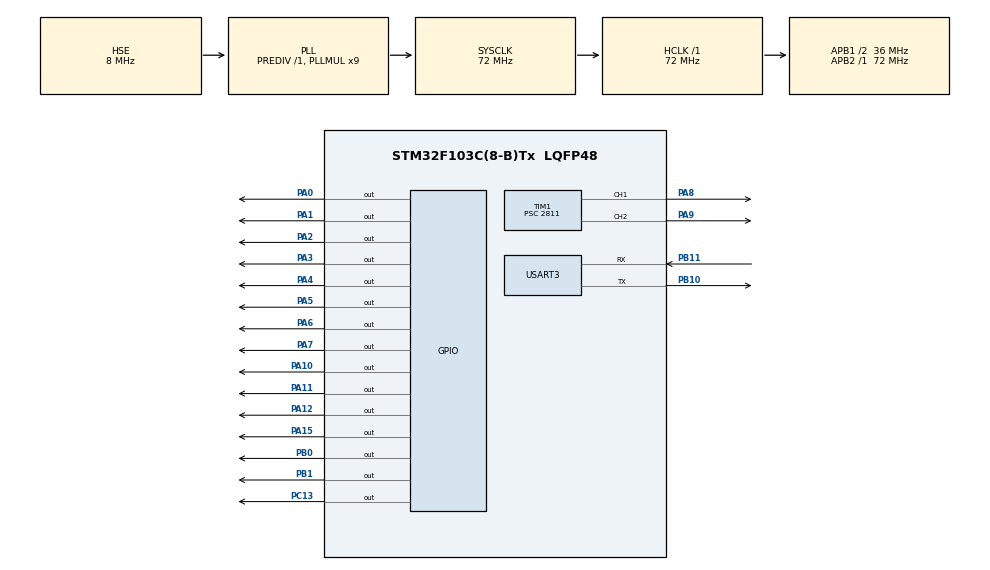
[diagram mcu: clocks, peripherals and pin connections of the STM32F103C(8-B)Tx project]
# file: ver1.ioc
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Mcu.Family=STM32F1
Mcu.Name=STM32F103C(8-B)Tx
Mcu.Package=LQFP48
NVIC.PriorityGroup=NVIC_PRIORITYGROUP_4
NVIC.USART3_IRQn=true\:2\:0\:true\:false\:true\:true\:true\:true
PA0-WKUP.Signal=GPIO_Output
PA1.Signal=GPIO_Output
PA10.Signal=GPIO_Output
PA11.Signal=GPIO_Output
PA12.Signal=GPIO_Output
PA13.Mode=Serial_Wire
PA13.Signal=SYS_JTMS-SWDIO
PA14.Mode=Serial_Wire
PA14.Signal=SYS_JTCK-SWCLK
PA15.Signal=GPIO_Output
PA2.Signal=GPIO_Output
PA3.Signal=GPIO_Output
PA4.Signal=GPIO_Output
PA5.Signal=GPIO_Output
PA6.Signal=GPIO_Output
PA7.Signal=GPIO_Output
PA8.Signal=S_TIM1_CH1
PA9.Signal=S_TIM1_CH2
PB0.Signal=GPIO_Output
PB1.Signal=GPIO_Output
PB10.Mode=Asynchronous
PB10.Signal=USART3_TX
PB11.Mode=Asynchronous
PB11.Signal=USART3_RX
PC13-TAMPER-RTC.Signal=GPIO_Output
PD0-OSC_IN.Mode=HSE-External-Oscillator
PD0-OSC_IN.Signal=RCC_OSC_IN
PD1-OSC_OUT.Mode=HSE-External-Oscillator
PD1-OSC_OUT.Signal=RCC_OSC_OUT
ProjectManager.HeapSize=0x200
ProjectManager.StackSize=0x400
ProjectManager.TargetToolchain=MDK-ARM V5.32
RCC.ADCPresc=RCC_ADCPCLK2_DIV6
RCC.AHBFreq_Value=72000000
RCC.APB1CLKDivider=RCC_HCLK_DIV2
RCC.APB1Freq_Value=36000000
RCC.APB1TimFreq_Value=72000000
RCC.APB2Freq_Value=72000000
RCC.APB2TimFreq_Value=72000000
RCC.HCLKFreq_Value=72000000
RCC.PLLMUL=RCC_PLL_MUL9
RCC.PLLSourceVirtual=RCC_PLLSOURCE_HSE
RCC.SYSCLKFreq_VALUE=72000000
RCC.SYSCLKSource=RCC_SYSCLKSOURCE_PLLCLK
RCC.USBFreq_Value=72000000
SH.S_TIM1_CH1.0=TIM1_CH1,PWM Generation1 CH1
SH.S_TIM1_CH2.0=TIM1_CH2,PWM Generation2 CH2
TIM1.Channel-PWM\ Generation1\ CH1=TIM_CHANNEL_1
TIM1.Channel-PWM\ Generation2\ CH2=TIM_CHANNEL_2
TIM1.Period=255
TIM1.Prescaler=2811
TIM2.Prescaler=71
USART3.VirtualMode=VM_ASYNC
VP_TIM1_VS_ClockSourceINT.Mode=Internal
VP_TIM2_VS_ClockSourceINT.Mode=Internal
board=custom

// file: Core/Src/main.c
/* USER CODE BEGIN Header */
/**
  ******************************************************************************
  * @file           : main.c
  * @brief          : Main program body
  ******************************************************************************
  * @attention
  *
  * Copyright (c) 2025 STMicroelectronics.
  * All rights reserved.
  *
  * This software is licensed under terms that can be found in the LICENSE file
  * in the root directory of this software component.
  * If no LICENSE file comes with this software, it is provided AS-IS.
  *
  ******************************************************************************
  */
/* USER CODE END Header */
#include "main.h"

/* USER CODE BEGIN Includes */
#include "stdarg.h"
#include "stdio.h"
#include "string.h"
#include "kalman.h"
#include "math.h"
/* USER CODE END Includes */

TIM_HandleTypeDef htim1;
TIM_HandleTypeDef htim2;

UART_HandleTypeDef huart3;

void SystemClock_Config(void);
static void MX_GPIO_Init(void);
static void MX_TIM1_Init(void);
static void MX_USART3_UART_Init(void);
static void MX_TIM2_Init(void);

/* USER CODE BEGIN 0 */

#define TRIGGER_PORT 	GPIOB
#define TRIGGER_PIN		GPIO_PIN_9

#define ECHO_PORT			GPIOB
#define ECHO_PIN			GPIO_PIN_8

char buff[40];
uint8_t data_rx[40];
uint8_t pos = 0;

void HAL_PRINTF(const char* format, ...)
{
    va_list args;
    va_start(args, format);
    memset(buff, 0, sizeof(buff)); // X�a buffer
    vsnprintf(buff, sizeof(buff), format, args);
    va_end(args);
    HAL_UART_Transmit(&huart3, (uint8_t*)buff, strlen(buff), 1000);
}

void turn_right(){
	__HAL_TIM_SET_COMPARE(&htim1, TIM_CHANNEL_1, 250);
	__HAL_TIM_SET_COMPARE(&htim1, TIM_CHANNEL_2, 200);
	HAL_GPIO_WritePin(GPIOA, GPIO_PIN_10, 1);
	HAL_GPIO_WritePin(GPIOA, GPIO_PIN_11, 0);
	HAL_GPIO_WritePin(GPIOA, GPIO_PIN_12, 0);
	HAL_GPIO_WritePin(GPIOA, GPIO_PIN_15, 1);
}

void turn_left(){
	__HAL_TIM_SET_COMPARE(&htim1, TIM_CHANNEL_2, 250);
	__HAL_TIM_SET_COMPARE(&htim1, TIM_CHANNEL_1, 200);
	HAL_GPIO_WritePin(GPIOA, GPIO_PIN_10, 0);
	HAL_GPIO_WritePin(GPIOA, GPIO_PIN_11, 1);
	HAL_GPIO_WritePin(GPIOA, GPIO_PIN_12, 1);
	HAL_GPIO_WritePin(GPIOA, GPIO_PIN_15, 0);
}

void forward(){
	__HAL_TIM_SET_COMPARE(&htim1, TIM_CHANNEL_2, 250);
	__HAL_TIM_SET_COMPARE(&htim1, TIM_CHANNEL_1, 250);
	HAL_GPIO_WritePin(GPIOA, GPIO_PIN_10, 1);
	HAL_GPIO_WritePin(GPIOA, GPIO_PIN_11, 0);
	HAL_GPIO_WritePin(GPIOA, GPIO_PIN_12, 1);
	HAL_GPIO_WritePin(GPIOA, GPIO_PIN_15, 0);
}

void go_back(){
	__HAL_TIM_SET_COMPARE(&htim1, TIM_CHANNEL_2, 250);
	__HAL_TIM_SET_COMPARE(&htim1, TIM_CHANNEL_1, 250);
	HAL_GPIO_WritePin(GPIOA, GPIO_PIN_10, 0);
	HAL_GPIO_WritePin(GPIOA, GPIO_PIN_11, 1);
	HAL_GPIO_WritePin(GPIOA, GPIO_PIN_12, 0);
	HAL_GPIO_WritePin(GPIOA, GPIO_PIN_15, 1);
}

// Vừa tiến vừa rẽ phải
void forward_right() {
    __HAL_TIM_SET_COMPARE(&htim1, TIM_CHANNEL_1, 250); // Động cơ trái nhanh
    __HAL_TIM_SET_COMPARE(&htim1, TIM_CHANNEL_2, 30);   // Động cơ phải dừng hoặc rất chậm
    HAL_GPIO_WritePin(GPIOA, GPIO_PIN_10, 1);         // Trái tiến
    HAL_GPIO_WritePin(GPIOA, GPIO_PIN_11, 0);
    HAL_GPIO_WritePin(GPIOA, GPIO_PIN_12, 1);         // Phải tiến
    HAL_GPIO_WritePin(GPIOA, GPIO_PIN_15, 0);
}

// Vừa tiến vừa rẽ trái
void forward_left() {
    __HAL_TIM_SET_COMPARE(&htim1, TIM_CHANNEL_1, 30);  // Động cơ trái chậm
    __HAL_TIM_SET_COMPARE(&htim1, TIM_CHANNEL_2, 250); // Động cơ phải nhanh
    HAL_GPIO_WritePin(GPIOA, GPIO_PIN_10, 1);         // Trái tiến
    HAL_GPIO_WritePin(GPIOA, GPIO_PIN_11, 0);
    HAL_GPIO_WritePin(GPIOA, GPIO_PIN_12, 1);         // Phải tiến
    HAL_GPIO_WritePin(GPIOA, GPIO_PIN_15, 0);
}

// Vừa lùi vừa rẽ phải
void back_right() {
    __HAL_TIM_SET_COMPARE(&htim1, TIM_CHANNEL_1, 250); // Động cơ trái nhanh
    __HAL_TIM_SET_COMPARE(&htim1, TIM_CHANNEL_2, 30);   // Động cơ phải dừng hoặc rất chậm
    HAL_GPIO_WritePin(GPIOA, GPIO_PIN_10, 0);         // Trái lùi
    HAL_GPIO_WritePin(GPIOA, GPIO_PIN_11, 1);
    HAL_GPIO_WritePin(GPIOA, GPIO_PIN_12, 0);         // Phải lùi
    HAL_GPIO_WritePin(GPIOA, GPIO_PIN_15, 1);
}

// Vừa lùi vừa rẽ trái
void back_left() {
    __HAL_TIM_SET_COMPARE(&htim1, TIM_CHANNEL_1, 30);  // Động cơ trái chậm
    __HAL_TIM_SET_COMPARE(&htim1, TIM_CHANNEL_2, 250); // Động cơ phải nhanh
    HAL_GPIO_WritePin(GPIOA, GPIO_PIN_10, 0);         // Trái lùi
    HAL_GPIO_WritePin(GPIOA, GPIO_PIN_11, 1);
    HAL_GPIO_WritePin(GPIOA, GPIO_PIN_12, 0);         // Phải lùi
    HAL_GPIO_WritePin(GPIOA, GPIO_PIN_15, 1);
}

void xi_nhan_trai(uint8_t state){
	if(state==1){
		HAL_GPIO_WritePin(GPIOA, GPIO_PIN_3, 1);
	}else{
		HAL_GPIO_WritePin(GPIOA, GPIO_PIN_3, 0);
	}
}

void xi_nhan_phai(uint8_t state){
	if(state==1){
		HAL_GPIO_WritePin(GPIOB, GPIO_PIN_0, 1);
	}else{
		HAL_GPIO_WritePin(GPIOB, GPIO_PIN_0, 0);
	}
}

void turn_led(uint8_t state){
	if(state==1){
		HAL_GPIO_WritePin(GPIOA, GPIO_PIN_3, 1);
		HAL_GPIO_WritePin(GPIOA, GPIO_PIN_4, 1);
		HAL_GPIO_WritePin(GPIOA, GPIO_PIN_5, 1);
		HAL_GPIO_WritePin(GPIOA, GPIO_PIN_6, 1);
		HAL_GPIO_WritePin(GPIOA, GPIO_PIN_7, 1);
		HAL_GPIO_WritePin(GPIOB, GPIO_PIN_0, 1);
	}else{
		HAL_GPIO_WritePin(GPIOA, GPIO_PIN_3, 0);
		HAL_GPIO_WritePin(GPIOA, GPIO_PIN_4, 0);
		HAL_GPIO_WritePin(GPIOA, GPIO_PIN_5, 0);
		HAL_GPIO_WritePin(GPIOA, GPIO_PIN_6, 0);
		HAL_GPIO_WritePin(GPIOA, GPIO_PIN_7, 0);
		HAL_GPIO_WritePin(GPIOB, GPIO_PIN_0, 0);
	}
}

void car_horn(uint8_t state){
	if(state==1){
		HAL_GPIO_WritePin(GPIOA, GPIO_PIN_0, 1);
	}else{
		HAL_GPIO_WritePin(GPIOA, GPIO_PIN_0, 0);
	}
}

void off(){
    HAL_GPIO_WritePin(GPIOA, GPIO_PIN_10, 0);  // Động cơ phải tiến
    HAL_GPIO_WritePin(GPIOA, GPIO_PIN_11, 0);
    HAL_GPIO_WritePin(GPIOA, GPIO_PIN_12, 0);  // Động cơ trái tiến
    HAL_GPIO_WritePin(GPIOA, GPIO_PIN_15, 0);
}

uint8_t data_rx1;

void HAL_UART_RxCpltCallback(UART_HandleTypeDef *huart){
    if(huart->Instance == huart3.Instance){
				HAL_GPIO_TogglePin(GPIOC, GPIO_PIN_13);
				if(data_rx1 == 'S'){
            off();
        }else
        if(data_rx1 == 'F'){
            forward();
        }else
        if(data_rx1 == 'B'){
            go_back();
        }else
        if(data_rx1 == 'L'){
            turn_left();
        }else
        if(data_rx1 == 'R'){
            turn_right();
        }else
        if(data_rx1 == 'G'){  // Tien trai
            forward_left();
        }else
        if(data_rx1 == 'I'){  // Tien phai
            forward_right();
        }else
        if(data_rx1 == 'H'){  // Lui trai
            back_left();
        }else
        if(data_rx1 == 'J'){  // Lui phai
            back_right();
        }else
				if(data_rx1 == 'Z'){ // Xi nhan trai
						xi_nhan_trai(1);
				}else
				if(data_rx1 == 'X'){
						xi_nhan_trai(0);
				}
				if(data_rx1 == 'O'){ // Xi nhan phai
						xi_nhan_phai(1);
				}else
				if(data_rx1 == 'P'){ // Xi nhan phai
						xi_nhan_phai(0);
				}else
				if(data_rx1 == 'M'){ // Bat den
						turn_led(1);
				}else
				if(data_rx1 == 'N'){ // Tat den
						turn_led(0);
				}else
				if(data_rx1 == '1'){ // Bat coi
						car_horn(1);
				}else
				if(data_rx1 == '2'){ // Tat coi
						car_horn(0);
				}
        HAL_UART_Receive_IT(&huart3, &data_rx1, 1);
    }
}

float distance=0.0;

void SR05_Init(){
	HAL_TIM_Base_Start(&htim2);
}

void SR05_Trigger(){
	HAL_GPIO_WritePin(TRIGGER_PORT, TRIGGER_PIN, 1);
	HAL_Delay(1);
	HAL_GPIO_WritePin(TRIGGER_PORT, TRIGGER_PIN, 0);
}

float SR05_Active(){
	uint16_t time;
	float dis;
	SR05_Trigger();
	while(!HAL_GPIO_ReadPin(ECHO_PORT, ECHO_PIN));
	__HAL_TIM_SET_COUNTER(&htim2,0);
	while(HAL_GPIO_ReadPin(ECHO_PORT, ECHO_PIN));
	time = __HAL_TIM_GET_COUNTER(&htim2);
	dis = (time*1.0)*(0.034/2);
	return dis;
}

void STOP_DISTANCE(){
	if(distance <= 3.0){
		off();
	}
}

/* USER CODE END 0 */

int main(void)
{

  /* MCU Configuration--------------------------------------------------------*/

  /* Reset of all peripherals, Initializes the Flash interface and the Systick. */
  HAL_Init();

  /* Configure the system clock */
  SystemClock_Config();

  /* Initialize all configured peripherals */
  MX_GPIO_Init();
  MX_TIM1_Init();
  MX_USART3_UART_Init();
  MX_TIM2_Init();
  /* USER CODE BEGIN 2 */
	HAL_UART_Receive_IT(&huart3, &data_rx1, 1);
	HAL_TIM_PWM_Start(&htim1, TIM_CHANNEL_1);
	HAL_TIM_PWM_Start(&htim1, TIM_CHANNEL_2);
	SimpleKalmanFilter(1, 2, 0.001);
	SR05_Init();
	pos=0;
	HAL_GPIO_WritePin(GPIOA, GPIO_PIN_1, 1);
  /* USER CODE END 2 */

  /* Infinite loop */
  while (1)
  {

    /* USER CODE BEGIN 3 */
		//read_joy();
//		distance=SR05_Active();
//		HAL_Delay(100);
  }
  /* USER CODE END 3 */
}

void SystemClock_Config(void)
{
  RCC_OscInitTypeDef RCC_OscInitStruct = {0};
  RCC_ClkInitTypeDef RCC_ClkInitStruct = {0};

  /** Initializes the RCC Oscillators according to the specified parameters
  * in the RCC_OscInitTypeDef structure.
  */
  RCC_OscInitStruct.OscillatorType = RCC_OSCILLATORTYPE_HSE;
  RCC_OscInitStruct.HSEState = RCC_HSE_ON;
  RCC_OscInitStruct.HSEPredivValue = RCC_HSE_PREDIV_DIV1;
  RCC_OscInitStruct.HSIState = RCC_HSI_ON;
  RCC_OscInitStruct.PLL.PLLState = RCC_PLL_ON;
  RCC_OscInitStruct.PLL.PLLSource = RCC_PLLSOURCE_HSE;
  RCC_OscInitStruct.PLL.PLLMUL = RCC_PLL_MUL9;
  if (HAL_RCC_OscConfig(&RCC_OscInitStruct) != HAL_OK)
  {
    Error_Handler();
  }

  /** Initializes the CPU, AHB and APB buses clocks
  */
  RCC_ClkInitStruct.ClockType = RCC_CLOCKTYPE_HCLK|RCC_CLOCKTYPE_SYSCLK
                              |RCC_CLOCKTYPE_PCLK1|RCC_CLOCKTYPE_PCLK2;
  RCC_ClkInitStruct.SYSCLKSource = RCC_SYSCLKSOURCE_PLLCLK;
  RCC_ClkInitStruct.AHBCLKDivider = RCC_SYSCLK_DIV1;
  RCC_ClkInitStruct.APB1CLKDivider = RCC_HCLK_DIV2;
  RCC_ClkInitStruct.APB2CLKDivider = RCC_HCLK_DIV1;

  if (HAL_RCC_ClockConfig(&RCC_ClkInitStruct, FLASH_LATENCY_2) != HAL_OK)
  {
    Error_Handler();
  }
}

static void MX_TIM1_Init(void)
{

  TIM_ClockConfigTypeDef sClockSourceConfig = {0};
  TIM_MasterConfigTypeDef sMasterConfig = {0};
  TIM_OC_InitTypeDef sConfigOC = {0};
  TIM_BreakDeadTimeConfigTypeDef sBreakDeadTimeConfig = {0};

  htim1.Instance = TIM1;
  htim1.Init.Prescaler = 2811;
  htim1.Init.CounterMode = TIM_COUNTERMODE_UP;
  htim1.Init.Period = 255;
  htim1.Init.ClockDivision = TIM_CLOCKDIVISION_DIV1;
  htim1.Init.RepetitionCounter = 0;
  htim1.Init.AutoReloadPreload = TIM_AUTORELOAD_PRELOAD_DISABLE;
  if (HAL_TIM_Base_Init(&htim1) != HAL_OK)
  {
    Error_Handler();
  }
  sClockSourceConfig.ClockSource = TIM_CLOCKSOURCE_INTERNAL;
  if (HAL_TIM_ConfigClockSource(&htim1, &sClockSourceConfig) != HAL_OK)
  {
    Error_Handler();
  }
  if (HAL_TIM_PWM_Init(&htim1) != HAL_OK)
  {
    Error_Handler();
  }
  sMasterConfig.MasterOutputTrigger = TIM_TRGO_RESET;
  sMasterConfig.MasterSlaveMode = TIM_MASTERSLAVEMODE_DISABLE;
  if (HAL_TIMEx_MasterConfigSynchronization(&htim1, &sMasterConfig) != HAL_OK)
  {
    Error_Handler();
  }
  sConfigOC.OCMode = TIM_OCMODE_PWM1;
  sConfigOC.Pulse = 0;
  sConfigOC.OCPolarity = TIM_OCPOLARITY_HIGH;
  sConfigOC.OCNPolarity = TIM_OCNPOLARITY_HIGH;
  sConfigOC.OCFastMode = TIM_OCFAST_DISABLE;
  sConfigOC.OCIdleState = TIM_OCIDLESTATE_RESET;
  sConfigOC.OCNIdleState = TIM_OCNIDLESTATE_RESET;
  if (HAL_TIM_PWM_ConfigChannel(&htim1, &sConfigOC, TIM_CHANNEL_1) != HAL_OK)
  {
    Error_Handler();
  }
  if (HAL_TIM_PWM_ConfigChannel(&htim1, &sConfigOC, TIM_CHANNEL_2) != HAL_OK)
  {
    Error_Handler();
  }
  sBreakDeadTimeConfig.OffStateRunMode = TIM_OSSR_DISABLE;
  sBreakDeadTimeConfig.OffStateIDLEMode = TIM_OSSI_DISABLE;
  sBreakDeadTimeConfig.LockLevel = TIM_LOCKLEVEL_OFF;
  sBreakDeadTimeConfig.DeadTime = 0;
  sBreakDeadTimeConfig.BreakState = TIM_BREAK_DISABLE;
  sBreakDeadTimeConfig.BreakPolarity = TIM_BREAKPOLARITY_HIGH;
  sBreakDeadTimeConfig.AutomaticOutput = TIM_AUTOMATICOUTPUT_DISABLE;
  if (HAL_TIMEx_ConfigBreakDeadTime(&htim1, &sBreakDeadTimeConfig) != HAL_OK)
  {
    Error_Handler();
  }
  HAL_TIM_MspPostInit(&htim1);

}

static void MX_TIM2_Init(void)
{

  TIM_ClockConfigTypeDef sClockSourceConfig = {0};
  TIM_MasterConfigTypeDef sMasterConfig = {0};

  htim2.Instance = TIM2;
  htim2.Init.Prescaler = 71;
  htim2.Init.CounterMode = TIM_COUNTERMODE_UP;
  htim2.Init.Period = 65535;
  htim2.Init.ClockDivision = TIM_CLOCKDIVISION_DIV1;
  htim2.Init.AutoReloadPreload = TIM_AUTORELOAD_PRELOAD_DISABLE;
  if (HAL_TIM_Base_Init(&htim2) != HAL_OK)
  {
    Error_Handler();
  }
  sClockSourceConfig.ClockSource = TIM_CLOCKSOURCE_INTERNAL;
  if (HAL_TIM_ConfigClockSource(&htim2, &sClockSourceConfig) != HAL_OK)
  {
    Error_Handler();
  }
  sMasterConfig.MasterOutputTrigger = TIM_TRGO_RESET;
  sMasterConfig.MasterSlaveMode = TIM_MASTERSLAVEMODE_DISABLE;
  if (HAL_TIMEx_MasterConfigSynchronization(&htim2, &sMasterConfig) != HAL_OK)
  {
    Error_Handler();
  }

}

static void MX_USART3_UART_Init(void)
{

  huart3.Instance = USART3;
  huart3.Init.BaudRate = 115200;
  huart3.Init.WordLength = UART_WORDLENGTH_8B;
  huart3.Init.StopBits = UART_STOPBITS_1;
  huart3.Init.Parity = UART_PARITY_NONE;
  huart3.Init.Mode = UART_MODE_TX_RX;
  huart3.Init.HwFlowCtl = UART_HWCONTROL_NONE;
  huart3.Init.OverSampling = UART_OVERSAMPLING_16;
  if (HAL_UART_Init(&huart3) != HAL_OK)
  {
    Error_Handler();
  }

}

static void MX_GPIO_Init(void)
{
  GPIO_InitTypeDef GPIO_InitStruct = {0};

  /* GPIO Ports Clock Enable */
  __HAL_RCC_GPIOC_CLK_ENABLE();
  __HAL_RCC_GPIOD_CLK_ENABLE();
  __HAL_RCC_GPIOA_CLK_ENABLE();
  __HAL_RCC_GPIOB_CLK_ENABLE();

  /*Configure GPIO pin Output Level */
  HAL_GPIO_WritePin(GPIOC, GPIO_PIN_13, GPIO_PIN_RESET);

  /*Configure GPIO pin Output Level */
  HAL_GPIO_WritePin(GPIOA, GPIO_PIN_0|GPIO_PIN_1|GPIO_PIN_2|GPIO_PIN_3
                          |GPIO_PIN_4|GPIO_PIN_5|GPIO_PIN_6|GPIO_PIN_7
                          |GPIO_PIN_10|GPIO_PIN_11|GPIO_PIN_12|GPIO_PIN_15, GPIO_PIN_RESET);

  /*Configure GPIO pin Output Level */
  HAL_GPIO_WritePin(GPIOB, GPIO_PIN_0|GPIO_PIN_1, GPIO_PIN_RESET);

  /*Configure GPIO pin : PC13 */
  GPIO_InitStruct.Pin = GPIO_PIN_13;
  GPIO_InitStruct.Mode = GPIO_MODE_OUTPUT_PP;
  GPIO_InitStruct.Pull = GPIO_NOPULL;
  GPIO_InitStruct.Speed = GPIO_SPEED_FREQ_LOW;
  HAL_GPIO_Init(GPIOC, &GPIO_InitStruct);

  /*Configure GPIO pins : PA0 PA1 PA2 PA3
                           PA4 PA5 PA6 PA7
                           PA10 PA11 PA12 PA15 */
  GPIO_InitStruct.Pin = GPIO_PIN_0|GPIO_PIN_1|GPIO_PIN_2|GPIO_PIN_3
                          |GPIO_PIN_4|GPIO_PIN_5|GPIO_PIN_6|GPIO_PIN_7
                          |GPIO_PIN_10|GPIO_PIN_11|GPIO_PIN_12|GPIO_PIN_15;
  GPIO_InitStruct.Mode = GPIO_MODE_OUTPUT_PP;
  GPIO_InitStruct.Pull = GPIO_NOPULL;
  GPIO_InitStruct.Speed = GPIO_SPEED_FREQ_LOW;
  HAL_GPIO_Init(GPIOA, &GPIO_InitStruct);

  /*Configure GPIO pins : PB0 PB1 */
  GPIO_InitStruct.Pin = GPIO_PIN_0|GPIO_PIN_1;
  GPIO_InitStruct.Mode = GPIO_MODE_OUTPUT_PP;
  GPIO_InitStruct.Pull = GPIO_NOPULL;
  GPIO_InitStruct.Speed = GPIO_SPEED_FREQ_LOW;
  HAL_GPIO_Init(GPIOB, &GPIO_InitStruct);

}

/* USER CODE BEGIN 4 */
//void HAL_UART_RxCpltCallback(UART_HandleTypeDef *huart){
//    if(huart->Instance == huart3.Instance){
//        pos++;
//        if(data_rx[pos-1] == '\n'){
//            data_rx[pos] = '\0';
//
//            if(strcmp((const char*)data_rx, "forward\r\n") == 0) {
//                forward();
//            }
//            else if(strcmp((const char*)data_rx, "go back\r\n") == 0) {
//                go_back();
//            }
//            else if(strcmp((const char*)data_rx, "turn right\r\n") == 0) {
//                turn_right();
//            }
//            else if(strcmp((const char*)data_rx, "turn left\r\n") == 0) {
//                turn_left();
//            }
//            else if(strcmp((const char*)data_rx, "led on\r\n") == 0) {
//                led(1);
//            }
//            else if(strcmp((const char*)data_rx, "led off\r\n") == 0) {
//                led(0);
//            }
//            else if(strcmp((const char*)data_rx, "horn on\r\n") == 0) {
//                car_horn(1);
//            }
//            else if(strcmp((const char*)data_rx, "horn off\r\n") == 0) {
//                car_horn(0);
//            }
//
//            pos = 0;
//        }
//        HAL_UART_Receive_IT(&huart3, &data_rx[pos], 1);
//    }
//}
/* USER CODE END 4 */

void Error_Handler(void)
{
  __disable_irq();
  while (1)
  {
  }
}
